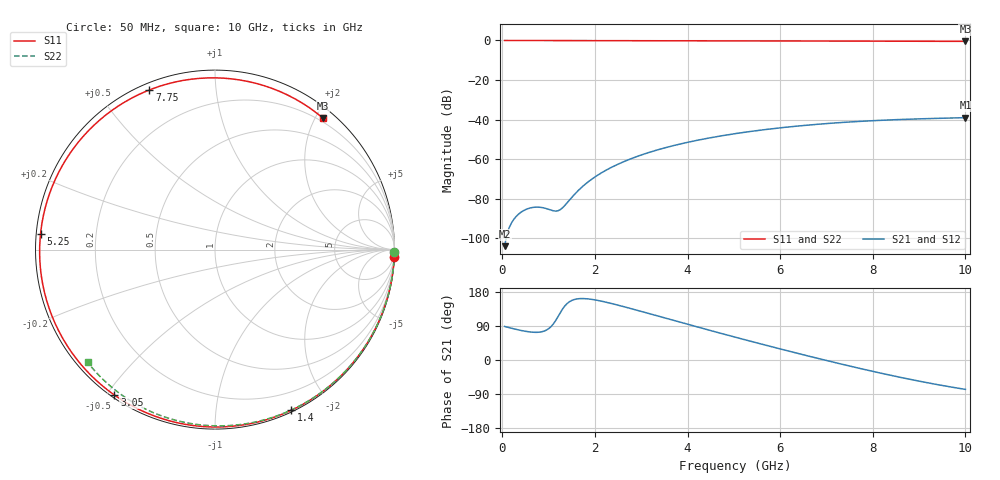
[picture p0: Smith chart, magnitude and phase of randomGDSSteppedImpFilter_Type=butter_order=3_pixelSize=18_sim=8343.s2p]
! freq	dB(S11)	phase(S11)	dB(S12)	phase(S12)
!  dB(S21)	phase(S21)	dB(S22)	phase(S22)
!S-par simulation data
#  GHz  S  DB  R 50
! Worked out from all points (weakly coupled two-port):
!   200 points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, 50 MHz to 10 GHz, reference 50 ohm
!   highest |S21| = -39.07 dB at 10 GHz (marker M1); lowest = -104.1 dB at 50 MHz (marker M2)
!   lowest |S11| = -0.5 dB at 10 GHz (marker M3), VSWR 37.41, Z = 7.27 + j105 ohm
!   |S11| at or under -10 dB: nowhere
!   |S22| runs from -0.5 to 0.0 dB; largest |S21 - S12| = 0
!   S11 on the Smith chart (normalised r, x): 50 MHz: 0, -47; 1.4 GHz: 0.02, -1.58; 3.05 GHz: 0.01, -0.52; 5.25 GHz: 0.01, +0.04; 7.75 GHz: 0.03, +0.67; 10 GHz: 0.15, +2.10
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0.05  -0.00 -2.4  -104.08 88.5  -104.08 88.5  -0.00 -0.8
0.35  -0.02 -16.9  -87.90 79.4  -87.90 79.4  -0.01 -5.6
0.65  -0.04 -31.1  -84.52 73.4  -84.52 73.4  -0.01 -10.4
1.05  -0.06 -49.4  -85.83 87.8  -85.83 87.8  -0.02 -16.7
1.4  -0.08 -64.6  -82.14 149.0  -82.14 149.0  -0.03 -22.2
1.5  -0.08 -68.7  -79.41 157.1  -79.41 157.1  -0.03 -23.8
1.75  -0.09 -78.9  -73.54 162.1  -73.54 162.1  -0.04 -27.6
2  -0.10 -88.6  -69.07 158.6  -69.07 158.6  -0.04 -31.5
2.3  -0.11 -99.6  -64.89 150.8  -64.89 150.8  -0.05 -36.1
2.65  -0.12 -111.7  -61.06 139.9  -61.06 139.9  -0.05 -41.4
3.05  -0.13 -124.7  -57.56 126.6  -57.56 126.6  -0.06 -47.4
3.4  -0.14 -135.4  -55.04 114.7  -55.04 114.7  -0.07 -52.6
4.2  -0.17 -158.0  -50.56 87.6  -50.56 87.6  -0.09 -64.1
5.05  -0.20 179.9  -47.08 59.5  -47.08 59.5  -0.12 -76.0
5.25  -0.21 174.9  -46.40 53.1  -46.40 53.1  -0.12 -78.7
5.95  -0.24 157.5  -44.34 30.8  -44.34 30.8  -0.15 -88.1
6.7  -0.28 138.9  -42.62 7.7  -42.62 7.7  -0.19 -97.9
7.25  -0.31 125.2  -41.63 -8.7  -41.63 -8.7  -0.22 -104.9
7.75  -0.34 112.4  -40.90 -23.1  -40.90 -23.1  -0.26 -111.1
8.35  -0.37 96.6  -40.22 -39.4  -40.22 -39.4  -0.30 -118.5
9.15  -0.41 74.8  -39.56 -59.3  -39.56 -59.3  -0.38 -128.3
10  -0.46 50.7  -39.07 -77.5  -39.07 -77.5  -0.47 -138.5
